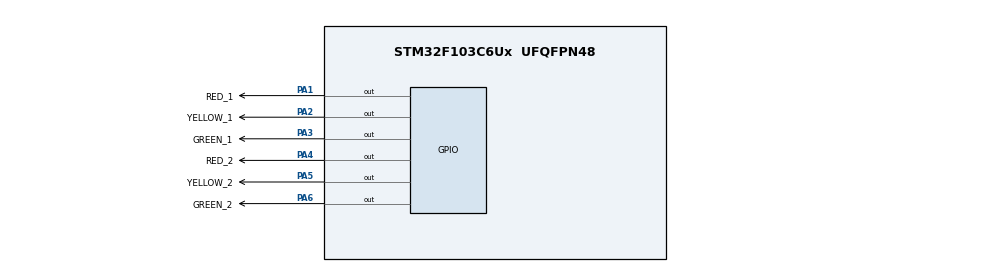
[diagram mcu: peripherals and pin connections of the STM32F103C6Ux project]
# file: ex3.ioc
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Mcu.Family=STM32F1
Mcu.Name=STM32F103C6Ux
Mcu.Package=UFQFPN48
NVIC.PriorityGroup=NVIC_PRIORITYGROUP_4
PA1.GPIO_Label=RED_1
PA1.Signal=GPIO_Output
PA2.GPIO_Label=YELLOW_1
PA2.Signal=GPIO_Output
PA3.GPIO_Label=GREEN_1
PA3.Signal=GPIO_Output
PA4.GPIO_Label=RED_2
PA4.Signal=GPIO_Output
PA5.GPIO_Label=YELLOW_2
PA5.Signal=GPIO_Output
PA6.GPIO_Label=GREEN_2
PA6.Signal=GPIO_Output
ProjectManager.HeapSize=0x200
ProjectManager.StackSize=0x400
ProjectManager.TargetToolchain=STM32CubeIDE
RCC.APB1Freq_Value=8000000
RCC.APB2Freq_Value=8000000
VP_SYS_VS_ND.Mode=No_Debug
board=custom

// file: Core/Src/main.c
/* USER CODE BEGIN Header */
/**
  ******************************************************************************
  * @file           : main.c
  * @brief          : Main program body
  ******************************************************************************
  * @attention
  *
  * <h2><center>&copy; Copyright (c) 2023 STMicroelectronics.
  * All rights reserved.</center></h2>
  *
  * This software component is licensed by ST under BSD 3-Clause license,
  * the "License"; You may not use this file except in compliance with the
  * License. You may obtain a copy of the License at:
  *                        opensource.org/licenses/BSD-3-Clause
  *
  ******************************************************************************
  */
/* USER CODE END Header */
#include "main.h"

void SystemClock_Config(void);
static void MX_GPIO_Init(void);

int main(void)
{

  /* MCU Configuration--------------------------------------------------------*/

  /* Reset of all peripherals, Initializes the Flash interface and the Systick. */
  HAL_Init();

  /* Configure the system clock */
  SystemClock_Config();

  /* Initialize all configured peripherals */
  MX_GPIO_Init();

  /* Infinite loop */
  /* USER CODE BEGIN WHILE */

//  turn off all lights
  HAL_GPIO_WritePin(RED_1_GPIO_Port, RED_1_Pin, RESET);
  HAL_GPIO_WritePin(YELLOW_1_GPIO_Port, YELLOW_1_Pin, RESET);
  HAL_GPIO_WritePin(GREEN_1_GPIO_Port, GREEN_1_Pin, RESET);
  HAL_GPIO_WritePin(RED_2_GPIO_Port, RED_2_Pin, RESET);
  HAL_GPIO_WritePin(YELLOW_2_GPIO_Port, YELLOW_2_Pin, RESET);
  HAL_GPIO_WritePin(GREEN_2_GPIO_Port, GREEN_2_Pin, RESET);
//  HAL_Delay(2000);
  int count = 0;
  while (1)
  {
	  if(count == 10 || count == 0){
		  count = 0;
		  HAL_GPIO_WritePin(RED_2_GPIO_Port, RED_2_Pin, RESET);
		  HAL_GPIO_WritePin(YELLOW_1_GPIO_Port, YELLOW_1_Pin, RESET);
		  HAL_GPIO_WritePin(RED_1_GPIO_Port, RED_1_Pin, SET);
		  HAL_GPIO_WritePin(GREEN_2_GPIO_Port, GREEN_2_Pin, SET);
	  }
	  else if(count == 3){
		  HAL_GPIO_WritePin(GREEN_2_GPIO_Port, GREEN_2_Pin, RESET);
		  HAL_GPIO_WritePin(YELLOW_2_GPIO_Port, YELLOW_2_Pin, SET);
	  }
	  else if(count == 5){
		  HAL_GPIO_WritePin(YELLOW_2_GPIO_Port, YELLOW_2_Pin, RESET);
		  HAL_GPIO_WritePin(RED_1_GPIO_Port, RED_1_Pin, RESET);
		  HAL_GPIO_WritePin(RED_2_GPIO_Port, RED_2_Pin, SET);
		  HAL_GPIO_WritePin(GREEN_1_GPIO_Port, GREEN_1_Pin, SET);
	  }
	  else if(count == 8){
		  HAL_GPIO_WritePin(GREEN_1_GPIO_Port, GREEN_1_Pin, RESET);
		  HAL_GPIO_WritePin(YELLOW_1_GPIO_Port, YELLOW_1_Pin, SET);
	  }
	  count++;
	  HAL_Delay(1000);
//	  HAL_GPIO_WritePin(RED_1_GPIO_Port, RED_1_Pin, SET);
//	  HAL_GPIO_WritePin(GREEN_2_GPIO_Port, GREEN_2_Pin, SET);
//	  HAL_Delay(3000);
//
//	  HAL_GPIO_WritePin(GREEN_2_GPIO_Port, GREEN_2_Pin, RESET);
//	  HAL_GPIO_WritePin(YELLOW_2_GPIO_Port, YELLOW_2_Pin, SET);
//	  HAL_Delay(2000);
//
//	  HAL_GPIO_WritePin(YELLOW_2_GPIO_Port, YELLOW_2_Pin, RESET);
//	  HAL_GPIO_WritePin(RED_1_GPIO_Port, RED_1_Pin, RESET);
//	  HAL_GPIO_WritePin(RED_2_GPIO_Port, RED_2_Pin, SET);
//	  HAL_GPIO_WritePin(GREEN_1_GPIO_Port, GREEN_1_Pin, SET);
//	  HAL_Delay(3000);
//
//	  HAL_GPIO_WritePin(GREEN_1_GPIO_Port, GREEN_1_Pin, RESET);
//	  HAL_GPIO_WritePin(YELLOW_1_GPIO_Port, YELLOW_1_Pin, SET);
//	  HAL_Delay(2000);
//
//	  HAL_GPIO_WritePin(RED_2_GPIO_Port, RED_2_Pin, RESET);
//	  HAL_GPIO_WritePin(YELLOW_1_GPIO_Port, YELLOW_1_Pin, RESET);
    /* USER CODE END WHILE */

  }
}

void SystemClock_Config(void)
{
  RCC_OscInitTypeDef RCC_OscInitStruct = {0};
  RCC_ClkInitTypeDef RCC_ClkInitStruct = {0};

  /** Initializes the RCC Oscillators according to the specified parameters
  * in the RCC_OscInitTypeDef structure.
  */
  RCC_OscInitStruct.OscillatorType = RCC_OSCILLATORTYPE_HSI;
  RCC_OscInitStruct.HSIState = RCC_HSI_ON;
  RCC_OscInitStruct.HSICalibrationValue = RCC_HSICALIBRATION_DEFAULT;
  RCC_OscInitStruct.PLL.PLLState = RCC_PLL_NONE;
  if (HAL_RCC_OscConfig(&RCC_OscInitStruct) != HAL_OK)
  {
    Error_Handler();
  }
  /** Initializes the CPU, AHB and APB buses clocks
  */
  RCC_ClkInitStruct.ClockType = RCC_CLOCKTYPE_HCLK|RCC_CLOCKTYPE_SYSCLK
                              |RCC_CLOCKTYPE_PCLK1|RCC_CLOCKTYPE_PCLK2;
  RCC_ClkInitStruct.SYSCLKSource = RCC_SYSCLKSOURCE_HSI;
  RCC_ClkInitStruct.AHBCLKDivider = RCC_SYSCLK_DIV1;
  RCC_ClkInitStruct.APB1CLKDivider = RCC_HCLK_DIV1;
  RCC_ClkInitStruct.APB2CLKDivider = RCC_HCLK_DIV1;

  if (HAL_RCC_ClockConfig(&RCC_ClkInitStruct, FLASH_LATENCY_0) != HAL_OK)
  {
    Error_Handler();
  }
}

static void MX_GPIO_Init(void)
{
  GPIO_InitTypeDef GPIO_InitStruct = {0};

  /* GPIO Ports Clock Enable */
  __HAL_RCC_GPIOA_CLK_ENABLE();

  /*Configure GPIO pin Output Level */
  HAL_GPIO_WritePin(GPIOA, RED_1_Pin|YELLOW_1_Pin|GREEN_1_Pin|RED_2_Pin
                          |YELLOW_2_Pin|GREEN_2_Pin, GPIO_PIN_RESET);

  /*Configure GPIO pins : RED_1_Pin YELLOW_1_Pin GREEN_1_Pin RED_2_Pin
                           YELLOW_2_Pin GREEN_2_Pin */
  GPIO_InitStruct.Pin = RED_1_Pin|YELLOW_1_Pin|GREEN_1_Pin|RED_2_Pin
                          |YELLOW_2_Pin|GREEN_2_Pin;
  GPIO_InitStruct.Mode = GPIO_MODE_OUTPUT_PP;
  GPIO_InitStruct.Pull = GPIO_NOPULL;
  GPIO_InitStruct.Speed = GPIO_SPEED_FREQ_LOW;
  HAL_GPIO_Init(GPIOA, &GPIO_InitStruct);

}

void Error_Handler(void)
{
  __disable_irq();
  while (1)
  {
  }
}

/************************ (C) COPYRIGHT STMicroelectronics *****END OF FILE****/
